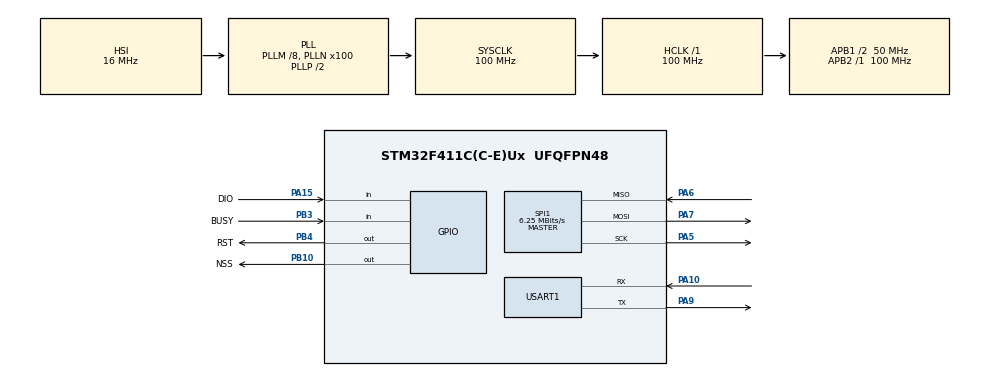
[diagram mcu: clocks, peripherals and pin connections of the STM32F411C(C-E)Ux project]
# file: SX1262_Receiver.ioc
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Mcu.Family=STM32F4
Mcu.Name=STM32F411C(C-E)Ux
Mcu.Package=UFQFPN48
NVIC.PriorityGroup=NVIC_PRIORITYGROUP_4
PA10.Mode=Asynchronous
PA10.Signal=USART1_RX
PA13.Mode=Serial_Wire
PA13.Signal=SYS_JTMS-SWDIO
PA14.Mode=Serial_Wire
PA14.Signal=SYS_JTCK-SWCLK
PA15.GPIO_Label=DIO
PA15.Signal=GPIO_Input
PA5.Mode=Full_Duplex_Master
PA5.Signal=SPI1_SCK
PA6.Mode=Full_Duplex_Master
PA6.Signal=SPI1_MISO
PA7.Mode=Full_Duplex_Master
PA7.Signal=SPI1_MOSI
PA9.Mode=Asynchronous
PA9.Signal=USART1_TX
PB10.GPIO_Label=NSS
PB10.GPIO_Speed=GPIO_SPEED_FREQ_VERY_HIGH
PB10.PinState=GPIO_PIN_SET
PB10.Signal=GPIO_Output
PB3.GPIO_Label=BUSY
PB3.Signal=GPIO_Input
PB4.GPIO_Label=RST
PB4.PinState=GPIO_PIN_SET
PB4.Signal=GPIO_Output
PH0\ -\ OSC_IN.Mode=HSE-External-Oscillator
PH0\ -\ OSC_IN.Signal=RCC_OSC_IN
PH1\ -\ OSC_OUT.Mode=HSE-External-Oscillator
PH1\ -\ OSC_OUT.Signal=RCC_OSC_OUT
ProjectManager.HeapSize=0x200
ProjectManager.StackSize=0x400
ProjectManager.TargetToolchain=STM32CubeIDE
RCC.48MHZClocksFreq_Value=50000000
RCC.AHBFreq_Value=100000000
RCC.APB1CLKDivider=RCC_HCLK_DIV2
RCC.APB1Freq_Value=50000000
RCC.APB1TimFreq_Value=100000000
RCC.APB2Freq_Value=100000000
RCC.APB2TimFreq_Value=100000000
RCC.CortexFreq_Value=100000000
RCC.HCLKFreq_Value=100000000
RCC.HSE_VALUE=25000000
RCC.HSI_VALUE=16000000
RCC.LSE_VALUE=32768
RCC.PLLM=8
RCC.PLLN=100
RCC.SYSCLKFreq_VALUE=100000000
RCC.SYSCLKSource=RCC_SYSCLKSOURCE_PLLCLK
RCC.VCOOutputFreq_Value=200000000
SPI1.BaudRatePrescaler=SPI_BAUDRATEPRESCALER_16
SPI1.CalculateBaudRate=6.25 MBits/s
SPI1.Direction=SPI_DIRECTION_2LINES
SPI1.Mode=SPI_MODE_MASTER
SPI1.VirtualType=VM_MASTER
USART1.VirtualMode=VM_ASYNC
board=custom

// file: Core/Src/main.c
/* USER CODE BEGIN Header */
/**
  ******************************************************************************
  * @file           : main.c
  * @brief          : Main program body
  ******************************************************************************
  * @attention
  *
  * Copyright (c) 2026 STMicroelectronics.
  * All rights reserved.
  *
  * This software is licensed under terms that can be found in the LICENSE file
  * in the root directory of this software component.
  * If no LICENSE file comes with this software, it is provided AS-IS.
  *
  ******************************************************************************
  */
/* USER CODE END Header */
#include "main.h"

/* USER CODE BEGIN Includes */
#include "ANSII_Codes.h"
#include "SX1262.h"
#include "string.h"
#include "stdio.h"
/* USER CODE END Includes */

SPI_HandleTypeDef hspi1;

UART_HandleTypeDef huart1;

/* USER CODE BEGIN PV */

SX1262_Status_t status;

// Configuración LoRa — debe ser IDÉNTICA a la del transmisor
lora_config_t mi_config = {
    .frequency        = 915000000,          // 915 MHz
    .spreading_factor = 11,                 // SF11
    .bandwidth        = BW_250_KHZ,         // 250 kHz
    .coding_rate      = CR_4_5,             // CR 4/5
    .tx_power         = 20,                 // +20 dBm (no aplica en RX, pero se inicializa)
    .preamble_len     = 8,                  // 8 símbolos
    .iq_inverted      = false,              // Modo estándar
    .network_mode     = LORA_NETWORK_PUBLIC,// Sync Word 0x34 (LoRaWAN / público)
    .lora_sync_word   = 0,                  // Sin sync word personalizado
    .config_pending   = false
};

// Buffer de recepción
#define RX_BUFFER_SIZE  255
uint8_t rx_buffer[RX_BUFFER_SIZE];
uint8_t rx_length = 0;

// Contador de paquetes recibidos
uint32_t packet_counter = 0;

// Timeout de recepción en ms  (0 = bloqueante sin límite de tiempo)
#define RX_TIMEOUT_MS   10000   // 10 segundos

char buffer[150];
/* USER CODE END PV */

void SystemClock_Config(void);
static void MX_GPIO_Init(void);
static void MX_SPI1_Init(void);
static void MX_USART1_UART_Init(void);

int main(void)
{

  /* MCU Configuration--------------------------------------------------------*/

  /* Reset of all peripherals, Initializes the Flash interface and the Systick. */
  HAL_Init();

  /* Configure the system clock */
  SystemClock_Config();

  /* Initialize all configured peripherals */
  MX_GPIO_Init();
  MX_SPI1_Init();
  MX_USART1_UART_Init();
  /* USER CODE BEGIN 2 */

  /* --- Banner de inicio --- */
  sprintf(buffer, "\r\n%s==============================%s\r\n", COLOR_BOLD, COLOR_RESET);
  HAL_UART_Transmit(&huart1, (uint8_t*)buffer, strlen(buffer), 1000);
  sprintf(buffer, "%s  SX1262 — Modo Receptor LoRa  %s\r\n", COLOR_BRIGHT_CYAN, COLOR_RESET);
  HAL_UART_Transmit(&huart1, (uint8_t*)buffer, strlen(buffer), 1000);
  sprintf(buffer, "%s==============================%s\r\n\r\n", COLOR_BOLD, COLOR_RESET);
  HAL_UART_Transmit(&huart1, (uint8_t*)buffer, strlen(buffer), 1000);

  /* --- Inicialización del módulo SX1262 --- */
  status = SX1262_Init(&hspi1,
                       NSS_GPIO_Port,  NSS_Pin,
                       BUSY_GPIO_Port, BUSY_Pin,
                       DIO_GPIO_Port,  DIO_Pin,
                       RST_GPIO_Port,  RST_Pin
                      );

  if (status != SX1262_OK)
  {
      sprintf(buffer, "%s[ERROR] SX1262_Init falló. Código: %d%s\r\n", COLOR_BRIGHT_RED, status, COLOR_RESET);
      HAL_UART_Transmit(&huart1, (uint8_t*)buffer, strlen(buffer), 1000);
      Error_Handler();
  }

  sprintf(buffer, "%s[OK] SX1262 inicializado correctamente.%s\r\n", COLOR_BRIGHT_GREEN, COLOR_RESET);
  HAL_UART_Transmit(&huart1, (uint8_t*)buffer, strlen(buffer), 1000);

  /* --- Aplicar configuración LoRa (idéntica al transmisor) --- */
  if (SX1262_ApplyConfig(&mi_config) != SX1262_OK)
  {
      sprintf(buffer, "%s[ERROR] SX1262_ApplyConfig falló.%s\r\n", COLOR_BRIGHT_RED, COLOR_RESET);
      HAL_UART_Transmit(&huart1, (uint8_t*)buffer, strlen(buffer), 1000);
      Error_Handler();
  }

  sprintf(buffer, "%s[OK] Configuración LoRa aplicada. Esperando paquetes...%s\r\n\r\n",
          COLOR_BRIGHT_GREEN, COLOR_RESET);
  HAL_UART_Transmit(&huart1, (uint8_t*)buffer, strlen(buffer), 1000);
  /* USER CODE END 2 */

  /* Infinite loop */
  /* USER CODE BEGIN WHILE */
  while (1)
  {

      sprintf(buffer, "%s[RX] Esperando paquete (timeout: %d ms)...%s\r\n",
              COLOR_YELLOW, RX_TIMEOUT_MS, COLOR_RESET);
      HAL_UART_Transmit(&huart1, (uint8_t*)buffer, strlen(buffer), 1000);

      // Limpiar el buffer antes de cada recepción
      memset(rx_buffer, 0, sizeof(rx_buffer));
      rx_length = 0;

      // Intentar recibir un paquete
      status = SX1262_Receive(rx_buffer, &rx_length, RX_TIMEOUT_MS);

      if (status == SX1262_OK)
      {
          packet_counter++;

          // Paquete recibido: mostrar datos por UART
          sprintf(buffer, "%s[OK] Paquete #%lu recibido (%d bytes):%s\r\n",
                  COLOR_BRIGHT_GREEN, packet_counter, rx_length, COLOR_RESET);
          HAL_UART_Transmit(&huart1, (uint8_t*)buffer, strlen(buffer), 1000);

          // Mostrar payload como string (asumiendo texto ASCII del transmisor)
          // Se añade terminador nulo por seguridad antes de imprimir
          if (rx_length < RX_BUFFER_SIZE)
          {
              rx_buffer[rx_length] = '\0';
          }
          sprintf(buffer, "  Payload : \"%s\"\r\n", (char*)rx_buffer);
          HAL_UART_Transmit(&huart1, (uint8_t*)buffer, strlen(buffer), 1000);

          HAL_Delay(100);
      }
      else if (status == SX1262_TIMEOUT)
      {
          sprintf(buffer, "%s[TIMEOUT] No se recibió paquete en %d ms.%s\r\n",
                  COLOR_BRIGHT_YELLOW, RX_TIMEOUT_MS, COLOR_RESET);
          HAL_UART_Transmit(&huart1, (uint8_t*)buffer, strlen(buffer), 1000);
      }
      else
      {
          // Error de recepción (CRC, header inválido, error SPI, etc.)
          sprintf(buffer, "%s[ERROR] Fallo en recepción. Código: %d%s\r\n",
                  COLOR_BRIGHT_RED, status, COLOR_RESET);
          HAL_UART_Transmit(&huart1, (uint8_t*)buffer, strlen(buffer), 1000);
      }

      sprintf(buffer, "\r\n");
      HAL_UART_Transmit(&huart1, (uint8_t*)buffer, strlen(buffer), 1000);
    /* USER CODE END WHILE */

  }
}

void SystemClock_Config(void)
{
  RCC_OscInitTypeDef RCC_OscInitStruct = {0};
  RCC_ClkInitTypeDef RCC_ClkInitStruct = {0};

  /** Configure the main internal regulator output voltage
  */
  __HAL_RCC_PWR_CLK_ENABLE();
  __HAL_PWR_VOLTAGESCALING_CONFIG(PWR_REGULATOR_VOLTAGE_SCALE1);

  /** Initializes the RCC Oscillators according to the specified parameters
  * in the RCC_OscInitTypeDef structure.
  */
  RCC_OscInitStruct.OscillatorType = RCC_OSCILLATORTYPE_HSI;
  RCC_OscInitStruct.HSIState = RCC_HSI_ON;
  RCC_OscInitStruct.HSICalibrationValue = RCC_HSICALIBRATION_DEFAULT;
  RCC_OscInitStruct.PLL.PLLState = RCC_PLL_ON;
  RCC_OscInitStruct.PLL.PLLSource = RCC_PLLSOURCE_HSI;
  RCC_OscInitStruct.PLL.PLLM = 8;
  RCC_OscInitStruct.PLL.PLLN = 100;
  RCC_OscInitStruct.PLL.PLLP = RCC_PLLP_DIV2;
  RCC_OscInitStruct.PLL.PLLQ = 4;
  if (HAL_RCC_OscConfig(&RCC_OscInitStruct) != HAL_OK)
  {
    Error_Handler();
  }

  /** Initializes the CPU, AHB and APB buses clocks
  */
  RCC_ClkInitStruct.ClockType = RCC_CLOCKTYPE_HCLK|RCC_CLOCKTYPE_SYSCLK
                              |RCC_CLOCKTYPE_PCLK1|RCC_CLOCKTYPE_PCLK2;
  RCC_ClkInitStruct.SYSCLKSource = RCC_SYSCLKSOURCE_PLLCLK;
  RCC_ClkInitStruct.AHBCLKDivider = RCC_SYSCLK_DIV1;
  RCC_ClkInitStruct.APB1CLKDivider = RCC_HCLK_DIV2;
  RCC_ClkInitStruct.APB2CLKDivider = RCC_HCLK_DIV1;

  if (HAL_RCC_ClockConfig(&RCC_ClkInitStruct, FLASH_LATENCY_3) != HAL_OK)
  {
    Error_Handler();
  }
}

static void MX_SPI1_Init(void)
{

  /* SPI1 parameter configuration*/
  hspi1.Instance = SPI1;
  hspi1.Init.Mode = SPI_MODE_MASTER;
  hspi1.Init.Direction = SPI_DIRECTION_2LINES;
  hspi1.Init.DataSize = SPI_DATASIZE_8BIT;
  hspi1.Init.CLKPolarity = SPI_POLARITY_LOW;
  hspi1.Init.CLKPhase = SPI_PHASE_1EDGE;
  hspi1.Init.NSS = SPI_NSS_SOFT;
  hspi1.Init.BaudRatePrescaler = SPI_BAUDRATEPRESCALER_16;
  hspi1.Init.FirstBit = SPI_FIRSTBIT_MSB;
  hspi1.Init.TIMode = SPI_TIMODE_DISABLE;
  hspi1.Init.CRCCalculation = SPI_CRCCALCULATION_DISABLE;
  hspi1.Init.CRCPolynomial = 10;
  if (HAL_SPI_Init(&hspi1) != HAL_OK)
  {
    Error_Handler();
  }

}

static void MX_USART1_UART_Init(void)
{

  huart1.Instance = USART1;
  huart1.Init.BaudRate = 115200;
  huart1.Init.WordLength = UART_WORDLENGTH_8B;
  huart1.Init.StopBits = UART_STOPBITS_1;
  huart1.Init.Parity = UART_PARITY_NONE;
  huart1.Init.Mode = UART_MODE_TX_RX;
  huart1.Init.HwFlowCtl = UART_HWCONTROL_NONE;
  huart1.Init.OverSampling = UART_OVERSAMPLING_16;
  if (HAL_UART_Init(&huart1) != HAL_OK)
  {
    Error_Handler();
  }

}

static void MX_GPIO_Init(void)
{
  GPIO_InitTypeDef GPIO_InitStruct = {0};

  /* GPIO Ports Clock Enable */
  __HAL_RCC_GPIOH_CLK_ENABLE();
  __HAL_RCC_GPIOA_CLK_ENABLE();
  __HAL_RCC_GPIOB_CLK_ENABLE();

  /*Configure GPIO pin Output Level */
  HAL_GPIO_WritePin(GPIOB, NSS_Pin|RST_Pin, GPIO_PIN_SET);

  /*Configure GPIO pin : NSS_Pin */
  GPIO_InitStruct.Pin = NSS_Pin;
  GPIO_InitStruct.Mode = GPIO_MODE_OUTPUT_PP;
  GPIO_InitStruct.Pull = GPIO_NOPULL;
  GPIO_InitStruct.Speed = GPIO_SPEED_FREQ_VERY_HIGH;
  HAL_GPIO_Init(NSS_GPIO_Port, &GPIO_InitStruct);

  /*Configure GPIO pin : DIO_Pin */
  GPIO_InitStruct.Pin = DIO_Pin;
  GPIO_InitStruct.Mode = GPIO_MODE_INPUT;
  GPIO_InitStruct.Pull = GPIO_NOPULL;
  HAL_GPIO_Init(DIO_GPIO_Port, &GPIO_InitStruct);

  /*Configure GPIO pin : BUSY_Pin */
  GPIO_InitStruct.Pin = BUSY_Pin;
  GPIO_InitStruct.Mode = GPIO_MODE_INPUT;
  GPIO_InitStruct.Pull = GPIO_NOPULL;
  HAL_GPIO_Init(BUSY_GPIO_Port, &GPIO_InitStruct);

  /*Configure GPIO pin : RST_Pin */
  GPIO_InitStruct.Pin = RST_Pin;
  GPIO_InitStruct.Mode = GPIO_MODE_OUTPUT_PP;
  GPIO_InitStruct.Pull = GPIO_NOPULL;
  GPIO_InitStruct.Speed = GPIO_SPEED_FREQ_LOW;
  HAL_GPIO_Init(RST_GPIO_Port, &GPIO_InitStruct);

}

void Error_Handler(void)
{
  __disable_irq();
  while (1)
  {
  }
}
